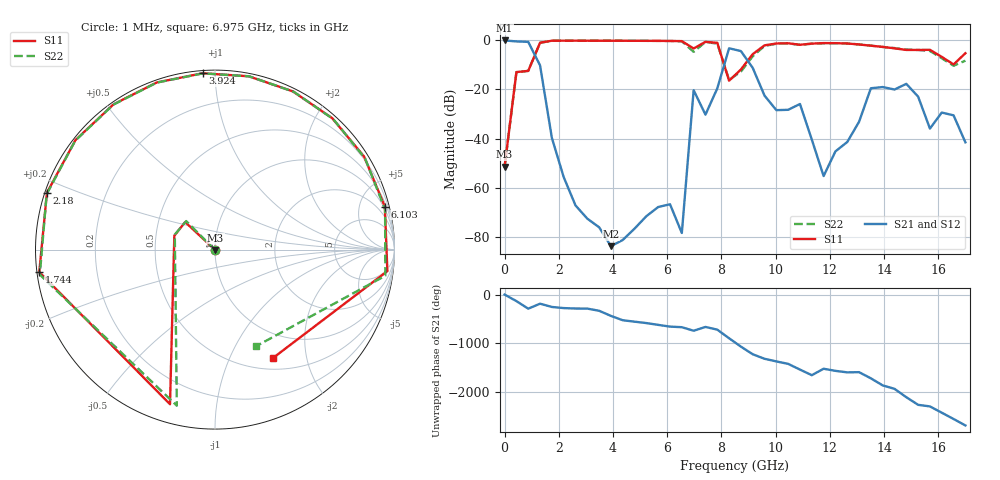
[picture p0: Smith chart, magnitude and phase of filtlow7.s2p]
# GHz S RI R 50
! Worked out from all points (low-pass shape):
!   40 points, 1 MHz to 17 GHz, reference 50 ohm
!   highest |S21| = -0.01 dB at 1 MHz (marker M1); lowest = -83.9 dB at 3.924 GHz (marker M2)
!   |S21| within 3 dB of the highest: start of sweep to 982.8 MHz
!   lowest |S11| = -51.5 dB at 1 MHz (marker M3), VSWR 1.01, Z = 50.1 - j0.241 ohm
!   |S11| at or under -10 dB: start of sweep to 964.6 MHz; 8.101 GHz to 8.848 GHz (746.1 MHz wide, 8.8 % of centre)
!   |S22| runs from -51.5 to -0.1 dB; largest |S21 - S12| = 1.4e-13
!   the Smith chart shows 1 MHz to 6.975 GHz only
!   S11 on the Smith chart (normalised r, x): 1 MHz: 1.00, -0.00; 1.744 GHz: 0.01, -0.06; 2.18 GHz: 0.01, +0.16; 3.924 GHz: 0.01, +0.93; 6.103 GHz: 0.79, +7.95; 6.975 GHz: 0.65, -1.47
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0.001  0.00116 -0.0024  0.9988 -0.00603  0.9988 -0.00603  0.00116 -0.0024
0.4368718  -0.1662 0.1535  -0.6888 -0.6605  -0.6888 -0.6605  -0.1603 0.159
0.8727436  -0.2265 0.0774  0.3412 0.8696  0.3412 0.8696  -0.224 0.0838
1.308615  -0.2506 -0.8614  -0.3064 0.0475  -0.3064 0.0475  -0.2127 -0.8696
1.744487  -0.9791 -0.1252  -0.00242 0.01  -0.00242 0.01  -0.976 -0.1394
2.180359  -0.9364 0.317  0.00027 0.00162  0.00027 0.00162  -0.938 0.3086
3.052103  -0.5654 0.8093  8.06e-05 0.000218  8.06e-05 0.000218  -0.5669 0.8073
3.923846  -0.0692 0.9825  1.01e-05 -6.31e-05  1.01e-05 -6.31e-05  -0.0669 0.9818
5.667333  0.8307 0.5183  -2.92e-05 0.000401  -2.92e-05 0.000401  0.8363 0.5079
6.103205  0.9462 0.2396  0.00024 0.000389  0.00024 0.000389  0.9478 0.2227
6.539077  0.9604 -0.12  8.19e-05 8.59e-05  8.19e-05 8.59e-05  0.9488 -0.1458
6.974949  0.3232 -0.6039  0.0864 -0.0432  0.0864 -0.0432  0.2266 -0.5398
7.410821  0.7587 -0.5486  0.019 0.0241  0.019 0.0241  0.7455 -0.5567
8.282564  0.0364 -0.1467  -0.6921 0.0215  -0.6921 0.0215  -0.0247 -0.1545
8.718436  -0.0502 -0.2504  0.6031 0.0628  0.6031 0.0628  0.0457 -0.2271
9.154308  -0.0507 0.5228  -0.2429 -0.1311  -0.2429 -0.1311  0.0208 0.4745
9.590179  0.7849 0.1229  -0.0319 0.0677  -0.0319 0.0677  0.7695 0.0788
11.33367  -0.0339 -0.86  -0.00694 0.00652  -0.00694 0.00652  -0.0391 -0.856
11.76954  -0.3063 -0.8267  -5.66e-06 -0.00172  -5.66e-06 -0.00172  -0.3071 -0.8198
14.38477  -0.5524 0.4134  -0.0813 -0.0578  -0.0813 -0.0578  -0.5622 0.4155
16.12826  0.4039 0.2242  0.00409 0.0336  0.00409 0.0336  0.3836 0.2018
17  -0.1354 -0.5312  -0.00837 -4.55e-05  -0.00837 -4.55e-05  -0.2197 -0.3182
